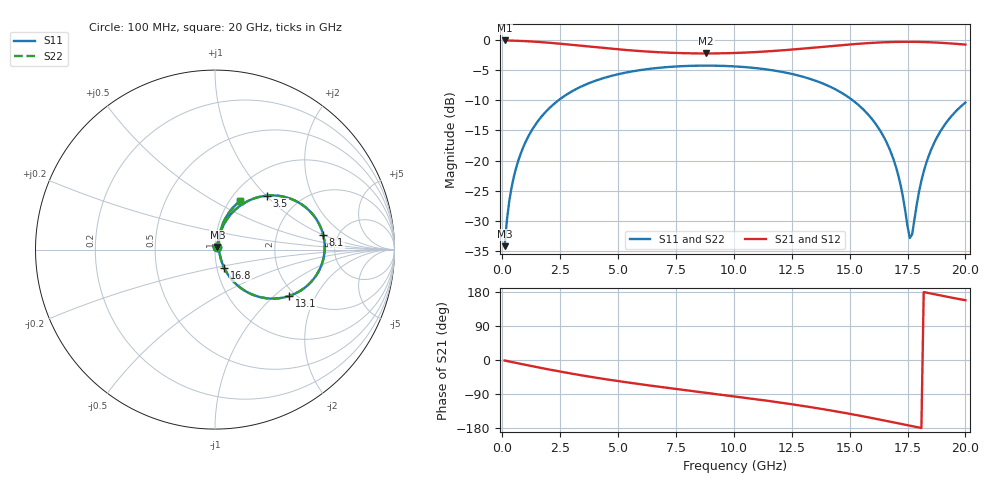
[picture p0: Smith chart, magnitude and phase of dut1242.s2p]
! Touchstone file exported from HFSS 2026.1.0
!  File:  C:/ffzhzh/LocalFiles/Ansys_Project_Files/temp_train_TSV_RDL_1242_1783323897_38704.aedt
!  Generated:  03:57:37 PM Jul  6, 2026
!  Design:  TSV_RDL
!  Project:  temp_train_TSV_RDL_1242_1783323897_38704
! Variables:
!  h_bsmrdl = 4.22um
!  h_ox = 20um
!  h_rdl = 5um
!  h_sub = 93.76um
!  h_tmrdl = 5.35um
!  h_tsv = 93.76um
!  h_via = 3um
!  l_bsmrdl = 120.22um
!  l_sub = 3170.39um
!  l_tmrdl = 575.05um
!  m_sub = 200um
!  pitch = 59.55um
!  r_tsv = 8.3um
!  s_tmrdl = 10um
!  w_bsmrdl = 20.86um
!  w_sub = 500um
!  w_tmrdl = 15.65um
!  x_tsv_center1 = 582.875um
!  x_tsv_center2 = 723.955um
!  x_tsv_center3 = 1314.655um
!  x_tsv_center4 = 1455.735um
!  x_tsv_center5 = 2046.435um
!  x_tsv_center6 = 2187.515um
# GHz S MA R 50.000000
! Terminal data exported
! Port[1] = TM_RDL1_1_T1
! Port[2] = TM_RDL5_1_T1
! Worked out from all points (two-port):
!   200 points, 100 MHz to 20 GHz, reference 50 ohm
!   highest |S21| = -0.11 dB at 100 MHz (marker M1); lowest = -2.3 dB at 8.8 GHz (marker M2)
!   |S21| within 3 dB of the highest: start of sweep to end of sweep
!   lowest |S11| = -34.1 dB at 100 MHz (marker M3), VSWR 1.04, Z = 51.3 + j1.5 ohm
!   |S11| at or under -10 dB: start of sweep to 2.429 GHz; 15.13 GHz to end of sweep
!   |S22| runs from -34.1 to -4.3 dB; largest |S21 - S12| = 1.8e-14
!   S11 on the Smith chart (normalised r, x): 100 MHz: 1.03, +0.03; 3.5 GHz: 1.39, +1.01; 8.1 GHz: 3.85, +0.97; 13.1 GHz: 1.85, -1.26; 16.8 GHz: 1.08, -0.23; 20 GHz: 1.11, +0.66
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0.1  0.01962 48.1  0.9871 -1.3  0.9871 -1.3  0.01962 48.1
! Gamma 0 0 0 0
! Port Impedance 50 0 50 0
0.2  0.03238 63.5  0.9864 -2.6  0.9864 -2.6  0.03238 63.5
0.4  0.05998 71.3  0.9843 -5.2  0.9843 -5.2  0.05998 71.3
1  0.1421 71.0  0.9743 -12.7  0.9743 -12.7  0.1421 71.0
2  0.2682 61.4  0.9458 -24.8  0.9458 -24.8  0.2682 61.4
3.5  0.4179 46.0  0.8884 -41.2  0.8884 -41.2  0.4179 46.0
6.8  0.5873 17.4  0.7882 -70.8  0.7882 -70.8  0.5873 17.4
8.1  0.6086 7.5  0.7726 -81.0  0.7726 -81.0  0.6086 7.5
8.8  0.6115 2.3  0.7705 -86.4  0.7705 -86.4  0.6115 2.3
10.1  0.6012 -7.5  0.7783 -96.6  0.7783 -96.6  0.6012 -7.5
13.1  0.4874 -32.0  0.8487 -122.3  0.8487 -122.3  0.4873 -32.0
13.4  0.4675 -34.7  0.8589 -125.2  0.8589 -125.2  0.4674 -34.7
15.4  0.2868 -53.8  0.9272 -146.5  0.9272 -146.5  0.2868 -53.8
16.7  0.1281 -63.4  0.9568 -162.1  0.9568 -162.1  0.1281 -63.3
16.8  0.115 -63.4  0.9581 -163.3  0.9581 -163.3  0.115 -63.3
17.2  0.06301 -58.6  0.9616 -168.3  0.9616 -168.3  0.06303 -58.5
17.6  0.02292 -4.6  0.9623 -173.3  0.9623 -173.3  0.02306 -4.5
17.7  0.02456 27.5  0.962 -174.5  0.962 -174.5  0.0247 27.5
18.1  0.06828 70.1  0.9591 -179.5  0.9591 -179.5  0.06835 70.0
18.5  0.1204 73.7  0.9534 175.5  0.9534 175.5  0.1205 73.7
19.1  0.1972 70.8  0.9402 168.2  0.9402 168.2  0.1973 70.8
20  0.3025 62.8  0.9123 157.7  0.9123 157.7  0.3026 62.8
